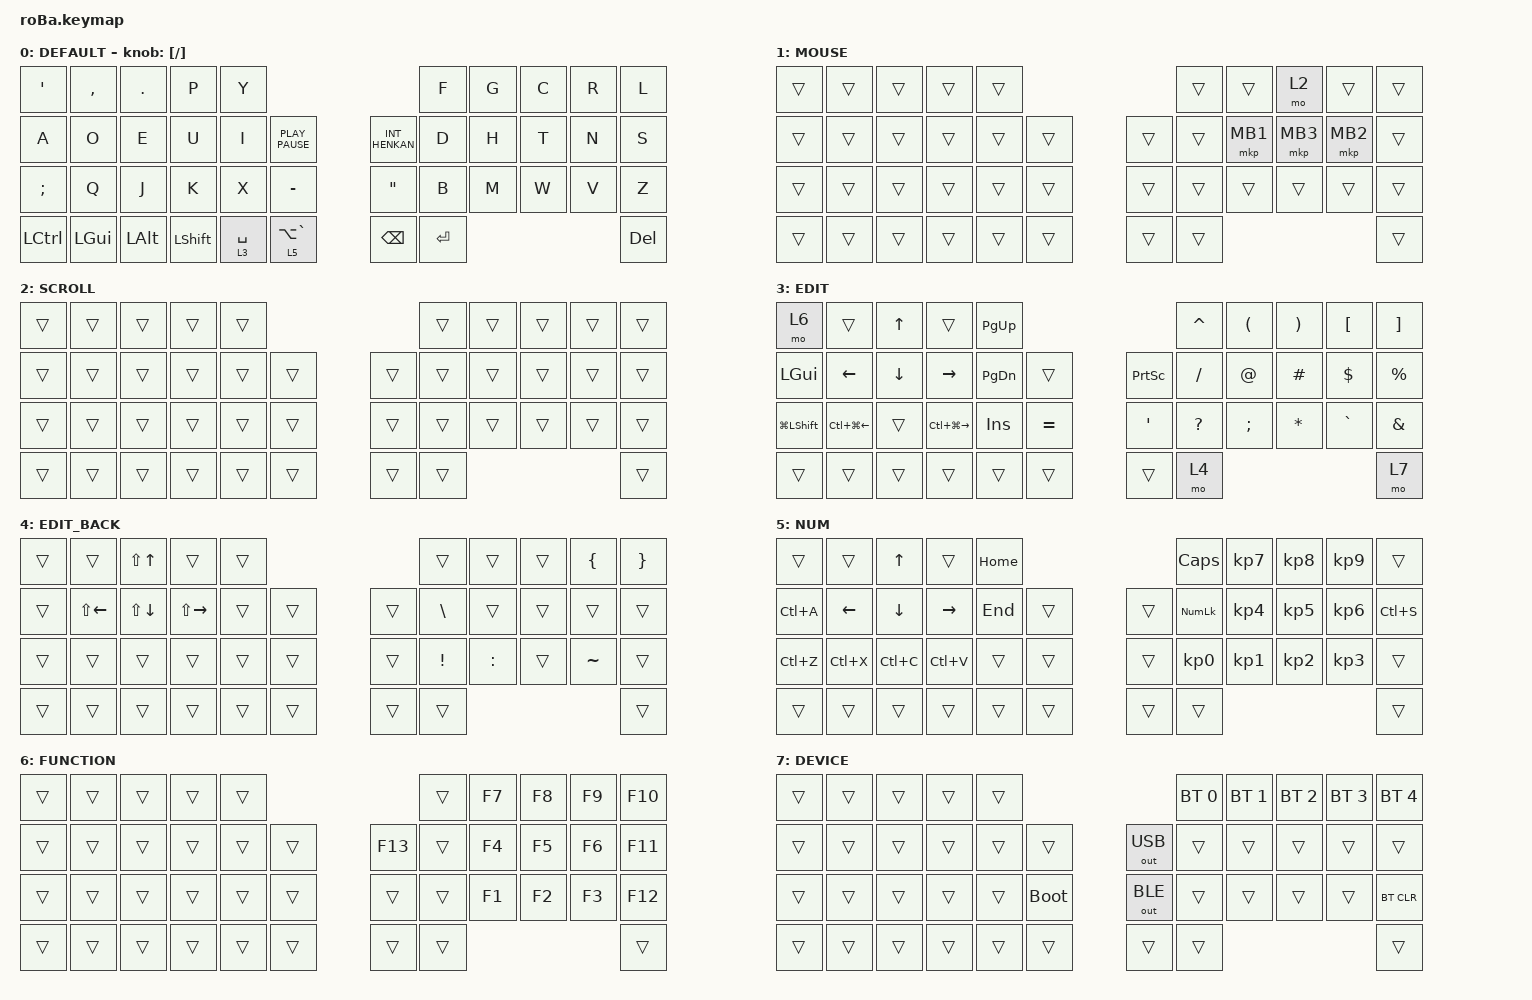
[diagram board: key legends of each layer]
#include <input/processors.dtsi>
#include <behaviors.dtsi>
#include <dt-bindings/zmk/bt.h>
#include <dt-bindings/zmk/keys.h>
#include <dt-bindings/zmk/outputs.h>
#include <dt-bindings/zmk/pointing.h>

&mt {
    flavor = "balanced";
    quick-tap-ms = <0>;
};

/ {
    zip_temp_layer: zip_temp_layer {
        compatible = "zmk,input-processor-temp-layer";
        #input-processor-cells = <2>;
        require-prior-idle-ms = <500>;
    };
};

&mkp_input_listener { input-processors = <&zip_temp_layer 1 500>; };

&trackball_listener {
    input-processors = <
        &zip_temp_layer 1 500
        &zip_xy_scaler 1 3
    >;

    scroller {
        layers = <2>;
        input-processors = <
            &zip_xy_to_scroll_mapper
            &zip_scroll_scaler 1 9
        >;
    };

    snipe {
        layers = <3>;
        input-processors = <&zip_xy_scaler 1 6>;
    };
};

/ {
    combos {
        compatible = "zmk,combos";

        tab {
            bindings = <&kp TAB>;
            key-positions = <11 12>;
        };

        double_quotation {
            bindings = <&kp DOUBLE_QUOTES>;
            key-positions = <20 21>;
        };

        esc {
            bindings = <&kp ESCAPE>;
            key-positions = <12 13>;
        };
    };

    macros {
        to_layer_0: to_layer_0 {
            compatible = "zmk,behavior-macro-one-param";
            #binding-cells = <1>;
            bindings = <&to 0 &macro_param_1to1 &kp MACRO_PLACEHOLDER>;
            label = "TO_LAYER_0";
        };
    };

    behaviors {
        lt_to_layer_0: lt_to_layer_0 {
            compatible = "zmk,behavior-hold-tap";
            label = "LAYER_TAP_TO_0";
            bindings = <&mo>, <&to_layer_0>;

            #binding-cells = <2>;
            tapping-term-ms = <200>;
        };
    };

    keymap {
        compatible = "zmk,keymap";

        DEFAULT {
            bindings = <
&kp APOS       &kp COMMA  &kp DOT   &kp P           &kp Y                                                 &kp F      &kp G  &kp C  &kp R  &kp L
&kp A          &kp O      &kp E     &kp U           &kp I        &kp K_PLAY_PAUSE      &kp INT_HENKAN     &kp D      &kp H  &kp T  &kp N  &kp S
&kp SEMICOLON  &kp Q      &kp J     &kp K           &kp X        &kp MINUS             &kp DOUBLE_QUOTES  &kp B      &kp M  &kp W  &kp V  &kp Z
&kp LCTRL      &kp LGUI   &kp LALT  &kp LEFT_SHIFT  &lt 3 SPACE  &lt 5 LA(GRAVE)       &kp BACKSPACE      &kp ENTER                       &kp DEL
            >;

            sensor-bindings = <&inc_dec_kp LEFT_BRACKET RIGHT_BRACKET>;
        };

        MOUSE {
            bindings = <
&trans  &trans  &trans  &trans  &trans                      &trans  &trans    &mo 2     &trans    &trans
&trans  &trans  &trans  &trans  &trans  &trans      &trans  &trans  &mkp MB1  &mkp MB3  &mkp MB2  &trans
&trans  &trans  &trans  &trans  &trans  &trans      &trans  &trans  &trans    &trans    &trans    &trans
&trans  &trans  &trans  &trans  &trans  &trans      &trans  &trans                                &trans
            >;
        };

        SCROLL {
            bindings = <
&trans  &trans  &trans  &trans  &trans                      &trans  &trans  &trans  &trans  &trans
&trans  &trans  &trans  &trans  &trans  &trans      &trans  &trans  &trans  &trans  &trans  &trans
&trans  &trans  &trans  &trans  &trans  &trans      &trans  &trans  &trans  &trans  &trans  &trans
&trans  &trans  &trans  &trans  &trans  &trans      &trans  &trans                          &trans
            >;
        };

        EDIT {
            bindings = <
&mo 6               &trans            &kp UP_ARROW    &trans             &kp PAGE_UP                                     &kp CARET     &kp LEFT_PARENTHESIS  &kp RIGHT_PARENTHESIS  &kp LEFT_BRACKET  &kp RIGHT_BRACKET
&kp LEFT_GUI        &kp LEFT_ARROW    &kp DOWN_ARROW  &kp RIGHT_ARROW    &kp PAGE_DOWN  &trans         &kp PRINTSCREEN   &kp SLASH     &kp AT_SIGN           &kp HASH               &kp DOLLAR        &kp PERCENT
&kp LG(LEFT_SHIFT)  &kp LC(LG(LEFT))  &trans          &kp LC(LG(RIGHT))  &kp INSERT     &kp EQUAL      &kp SINGLE_QUOTE  &kp QUESTION  &kp SEMICOLON         &kp ASTERISK           &kp GRAVE         &kp AMPERSAND
&trans              &trans            &trans          &trans             &trans         &trans         &trans            &mo 4                                                                        &mo 7
            >;
        };

        EDIT_BACK {
            bindings = <
&trans  &trans              &kp LS(UP)          &trans               &trans                      &trans           &trans     &trans  &kp LEFT_BRACE  &kp RIGHT_BRACE
&trans  &kp LS(LEFT_ARROW)  &kp LS(DOWN_ARROW)  &kp LS(RIGHT_ARROW)  &trans  &trans      &trans  &kp BACKSLASH    &trans     &trans  &trans          &trans
&trans  &trans              &trans              &trans               &trans  &trans      &trans  &kp EXCLAMATION  &kp COLON  &trans  &kp TILDE       &trans
&trans  &trans              &trans              &trans               &trans  &trans      &trans  &trans                                              &trans
            >;
        };

        NUM {
            bindings = <
&trans     &trans          &kp UP_ARROW    &trans           &kp HOME                      &kp CAPSLOCK     &kp KP_NUMBER_7  &kp KP_NUMBER_8  &kp KP_NUMBER_9  &trans
&kp LC(A)  &kp LEFT_ARROW  &kp DOWN_ARROW  &kp RIGHT_ARROW  &kp END   &trans      &trans  &kp KP_NUMLOCK   &kp KP_NUMBER_4  &kp KP_NUMBER_5  &kp KP_NUMBER_6  &kp LC(S)
&kp LC(Z)  &kp LC(X)       &kp LC(C)       &kp LC(V)        &trans    &trans      &trans  &kp KP_NUMBER_0  &kp KP_NUMBER_1  &kp KP_NUMBER_2  &kp KP_NUMBER_3  &trans
&trans     &trans          &trans          &trans           &trans    &trans      &trans  &trans                                                              &trans
            >;
        };

        FUNCTION {
            bindings = <
&trans  &trans  &trans  &trans  &trans                       &trans  &kp F7  &kp F8  &kp F9  &kp F10
&trans  &trans  &trans  &trans  &trans  &trans      &kp F13  &trans  &kp F4  &kp F5  &kp F6  &kp F11
&trans  &trans  &trans  &trans  &trans  &trans      &trans   &trans  &kp F1  &kp F2  &kp F3  &kp F12
&trans  &trans  &trans  &trans  &trans  &trans      &trans   &trans                          &trans
            >;
        };

        DEVICE {
            bindings = <
&trans  &trans  &trans  &trans  &trans                                 &bt BT_SEL 0  &bt BT_SEL 1  &bt BT_SEL 2  &bt BT_SEL 3  &bt BT_SEL 4
&trans  &trans  &trans  &trans  &trans  &trans           &out OUT_USB  &trans        &trans        &trans        &trans        &trans
&trans  &trans  &trans  &trans  &trans  &bootloader      &out OUT_BLE  &trans        &trans        &trans        &trans        &bt BT_CLR
&trans  &trans  &trans  &trans  &trans  &trans           &trans        &trans                                                  &trans
            >;
        };
    };
};
